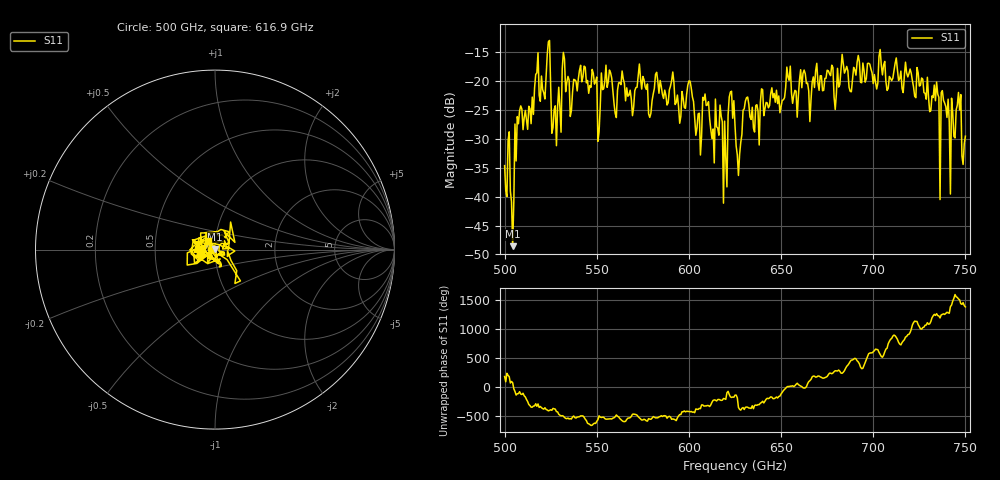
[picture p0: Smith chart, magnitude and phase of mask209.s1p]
!Created with skrf (http://scikit-rf.org).
# GHz S MA R 50.0
!freq magS11 angS11
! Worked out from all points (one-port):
!   401 points, 500 GHz to 750 GHz, reference 50 ohm
!   lowest |S11| = -48.6 dB at 504.4 GHz (marker M1), VSWR 1.01, Z = 50.1 + j0.346 ohm
!   |S11| at or under -10 dB: start of sweep to end of sweep
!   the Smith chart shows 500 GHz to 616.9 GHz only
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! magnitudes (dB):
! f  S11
! 500 GHz  -34.6
! 504.4 GHz  -48.6
! 508.1 GHz  -25.1
! 523.8 GHz  -13.2
! 526.9 GHz  -24.9
! 531.2 GHz  -17.9
! 548.8 GHz  -20.5
! 551.9 GHz  -24.5
! 553.8 GHz  -21.3
! 562.5 GHz  -20.3
! 593.8 GHz  -22.4
! 600.6 GHz  -20.0
! 605.6 GHz  -25.5
! 609.4 GHz  -24.2
! 612.5 GHz  -29.9
! 616.9 GHz  -24.2
! 619.4 GHz  -26.9
! 622.5 GHz  -21.9
! 625 GHz  -27.6
! 626.9 GHz  -36.3
! 630.6 GHz  -23.5
! 656.2 GHz  -23.8
! 687.5 GHz  -21.8
! 718.8 GHz  -19.3
! 738.1 GHz  -23.3
! 743.1 GHz  -25.5
! 746.2 GHz  -22.0
! 750 GHz  -29.5
